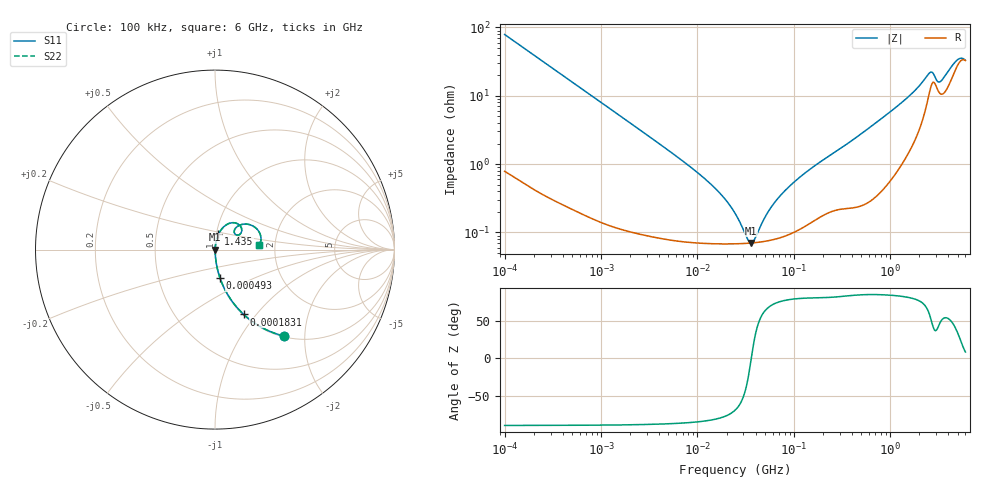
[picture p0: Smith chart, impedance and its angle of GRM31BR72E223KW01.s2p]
!Murata Part Number: GRM31BR72E223KW01
!These Parameters are Measured in Series Mode Connection
!Data Generated on Mar 30, 2021
!  o--ll--o
!Port1  Port2
!  o------o
!Operation Temp=25[degC], DC Bias Voltage=0[V]
!Freq. Start=100[kHz] Stop=6[GHz] 401[Steps]
# Hz S RI R 50
!Freq.(Hz) S11(Real) S11(Imag) S21(Real) S21(Imag) S12(Real) S12(Imag) S22(Real) S22(Imag)
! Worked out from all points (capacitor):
!   401 points, 100 kHz to 6 GHz, reference 50 ohm
!   read as one part in series: C = 20.2 nF near 105.7 kHz
!   lowest |Z| = 70 mohm at 36 MHz (marker M1)
!   series resonance near 36.12 MHz, so ESL is about 960 pH
!   S11 on the Smith chart (normalised r, x): 100 kHz: 1.02, -1.58; 183.1 kHz: 1.01, -0.86; 493 kHz: 1.00, -0.32; 1.435 GHz: 1.02, +0.18; 6 GHz: 1.66, +0.10
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100000  0.3843 -0.4815  0.6157 0.4815  0.6157 0.4815  0.3843 -0.4815
183146  0.1599 -0.3612  0.8401 0.3612  0.8401 0.3612  0.1599 -0.3612
492983  0.0274 -0.1566  0.9726 0.1566  0.9726 0.1566  0.0274 -0.1566
631452  0.0175 -0.1238  0.9825 0.1238  0.9825 0.1238  0.0175 -0.1238
3987316  0.00122 -0.0199  0.9988 0.0199  0.9988 0.0199  0.00122 -0.0199
1.374747e7  0.00071 -0.00504  0.9993 0.00504  0.9993 0.00504  0.00071 -0.00504
1.965679e7  0.000687 -0.0029  0.9993 0.0029  0.9993 0.0029  0.000687 -0.0029
2.517799e7  0.000684 -0.00166  0.9993 0.00166  0.9993 0.00166  0.000684 -0.00166
3.314933e7  0.000694 -0.000386  0.9993 0.000386  0.9993 0.000386  0.000694 -0.000386
3.60007e7  0.0007 -1.48e-05  0.9993 1.48e-05  0.9993 1.48e-05  0.0007 -1.48e-05
3.909733e7  0.000707 0.000356  0.9993 -0.000356  0.9993 -0.000356  0.000707 0.000356
5.147553e7  0.000748 0.00162  0.9993 -0.00162  0.9993 -0.00162  0.000748 0.00162
6.593397e7  0.000814 0.00285  0.9992 -0.00285  0.9992 -0.00285  0.000814 0.00285
9.427557e7  0.000988 0.00494  0.999 -0.00494  0.999 -0.00494  0.000988 0.00494
1.546735e8  0.0015 0.00874  0.9985 -0.00874  0.9985 -0.00874  0.0015 0.00874
9.76689e8  0.00857 0.0559  0.9914 -0.0559  0.9914 -0.0559  0.00857 0.0559
1.435462e9  0.0194 0.0852  0.9806 -0.0852  0.9806 -0.0852  0.0194 0.0852
2.488279e9  0.1135 0.1487  0.8865 -0.1487  0.8865 -0.1487  0.1135 0.1487
2.702311e9  0.1475 0.1206  0.8525 -0.1206  0.8525 -0.1206  0.1475 0.1206
3.276068e9  0.1074 0.0953  0.8926 -0.0953  0.8926 -0.0953  0.1074 0.0953
4.68428e9  0.2101 0.1323  0.7899 -0.1323  0.7899 -0.1323  0.2101 0.1323
6e9  0.2478 0.0281  0.7522 -0.0281  0.7522 -0.0281  0.2478 0.0281
